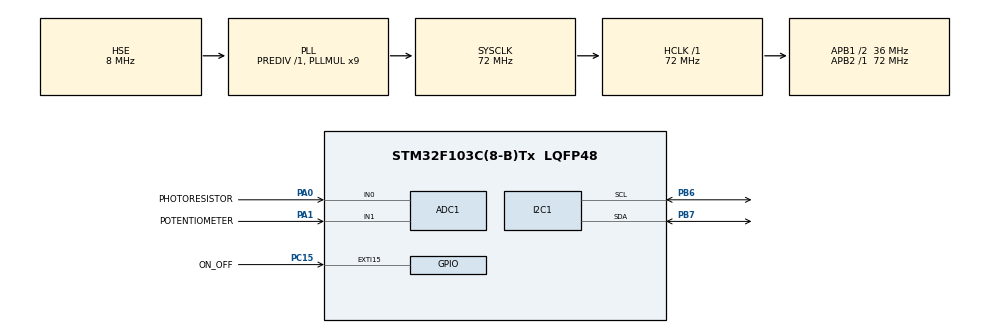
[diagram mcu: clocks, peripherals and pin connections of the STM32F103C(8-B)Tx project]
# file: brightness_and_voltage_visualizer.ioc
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ADC1.Channel-0\#ChannelRegularConversion=ADC_CHANNEL_0
ADC1.Channel-1\#ChannelRegularConversion=ADC_CHANNEL_1
ADC1.ContinuousConvMode=ENABLE
ADC1.NbrOfConversion=2
ADC1.NbrOfConversionFlag=1
ADC1.Rank-0\#ChannelRegularConversion=1
ADC1.Rank-1\#ChannelRegularConversion=2
ADC1.SamplingTime-0\#ChannelRegularConversion=ADC_SAMPLETIME_239CYCLES_5
ADC1.SamplingTime-1\#ChannelRegularConversion=ADC_SAMPLETIME_239CYCLES_5
ADC1.master=1
Dma.ADC1.0.Direction=DMA_PERIPH_TO_MEMORY
Dma.ADC1.0.Instance=DMA1_Channel1
Dma.ADC1.0.MemDataAlignment=DMA_MDATAALIGN_HALFWORD
Dma.ADC1.0.MemInc=DMA_MINC_ENABLE
Dma.ADC1.0.Mode=DMA_CIRCULAR
Dma.ADC1.0.PeriphDataAlignment=DMA_PDATAALIGN_HALFWORD
Dma.ADC1.0.PeriphInc=DMA_PINC_DISABLE
Dma.ADC1.0.Priority=DMA_PRIORITY_LOW
Dma.Request0=ADC1
I2C1.I2C_Mode=I2C_Fast
Mcu.Family=STM32F1
Mcu.Name=STM32F103C(8-B)Tx
Mcu.Package=LQFP48
NVIC.ADC1_2_IRQn=true\:0\:0\:false\:false\:true\:true\:true\:true
NVIC.DMA1_Channel1_IRQn=true\:0\:0\:false\:false\:true\:false\:true\:true
NVIC.EXTI15_10_IRQn=true\:0\:0\:false\:false\:true\:true\:true\:true
NVIC.PriorityGroup=NVIC_PRIORITYGROUP_4
PA0-WKUP.GPIO_Label=PHOTORESISTOR
PA0-WKUP.Signal=ADCx_IN0
PA1.GPIO_Label=POTENTIOMETER
PA1.Signal=ADCx_IN1
PB6.Mode=I2C
PB6.Signal=I2C1_SCL
PB7.Mode=I2C
PB7.Signal=I2C1_SDA
PC15-OSC32_OUT.GPIO_Label=ON_OFF
PC15-OSC32_OUT.GPIO_ModeDefaultEXTI=GPIO_MODE_IT_FALLING
PC15-OSC32_OUT.GPIO_PuPd=GPIO_PULLUP
PC15-OSC32_OUT.Signal=GPXTI15
PD0-OSC_IN.Mode=HSE-External-Oscillator
PD0-OSC_IN.Signal=RCC_OSC_IN
PD1-OSC_OUT.Mode=HSE-External-Oscillator
PD1-OSC_OUT.Signal=RCC_OSC_OUT
ProjectManager.HeapSize=0x200
ProjectManager.StackSize=0x400
ProjectManager.TargetToolchain=STM32CubeIDE
RCC.ADCPresc=RCC_ADCPCLK2_DIV6
RCC.AHBFreq_Value=72000000
RCC.APB1CLKDivider=RCC_HCLK_DIV2
RCC.APB1Freq_Value=36000000
RCC.APB1TimFreq_Value=72000000
RCC.APB2Freq_Value=72000000
RCC.APB2TimFreq_Value=72000000
RCC.HCLKFreq_Value=72000000
RCC.PLLMUL=RCC_PLL_MUL9
RCC.PLLSourceVirtual=RCC_PLLSOURCE_HSE
RCC.SYSCLKFreq_VALUE=72000000
RCC.SYSCLKSource=RCC_SYSCLKSOURCE_PLLCLK
RCC.USBFreq_Value=72000000
SH.ADCx_IN0.0=ADC1_IN0,IN0
SH.ADCx_IN1.0=ADC1_IN1,IN1
board=custom

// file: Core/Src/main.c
/* USER CODE BEGIN Header */
/**
  ******************************************************************************
  * @file           : main.c
  * @brief          : Main program body
  ******************************************************************************
  * @attention
  *
  * Copyright (c) 2025 STMicroelectronics.
  * All rights reserved.
  *
  * This software is licensed under terms that can be found in the LICENSE file
  * in the root directory of this software component.
  * If no LICENSE file comes with this software, it is provided AS-IS.
  *
  ******************************************************************************
  */
/* USER CODE END Header */
#include "main.h"

ADC_HandleTypeDef hadc1;
DMA_HandleTypeDef hdma_adc1;

I2C_HandleTypeDef hi2c1;

void SystemClock_Config(void);
static void MX_GPIO_Init(void);
static void MX_DMA_Init(void);
static void MX_ADC1_Init(void);
static void MX_I2C1_Init(void);
/* USER CODE BEGIN PFP */
uint16_t sensor_values[2];
/* USER CODE END PFP */

/* USER CODE BEGIN 0 */

void drawProgressBarDemo(uint16_t photoresistorProgress, uint16_t potentiometerProgress)
{
  char str[128];

  uint8_t potPercent = (potentiometerProgress * 100) / 4095;
  uint8_t photoPercent = (photoresistorProgress * 100) / 4095;

  ssd1306_DrawProgressBar(4, 15, 120, 10, potPercent);
  ssd1306_DrawProgressBar(4, 40, 120, 10, photoPercent);

  ssd1306_SetCursor(0, 5);
  sprintf(str, "potentiometer %i%%", potPercent);
  ssd1306_WriteString(str, Font_7x10);

  ssd1306_SetCursor(0, 30);
  sprintf(str, "photoresistor %i%%", photoPercent);
  ssd1306_WriteString(str, Font_7x10);
  ssd1306_UpdateScreen();
}
/* USER CODE END 0 */

int main(void)
{

  /* MCU Configuration--------------------------------------------------------*/

  /* Reset of all peripherals, Initializes the Flash interface and the Systick. */
  HAL_Init();

  /* Configure the system clock */
  SystemClock_Config();

  /* Initialize all configured peripherals */
  MX_GPIO_Init();
  MX_DMA_Init();
  MX_ADC1_Init();
  MX_I2C1_Init();
  /* USER CODE BEGIN 2 */
  ssd1306_Init();
  ssd1306_FlipScreenVertically();
  ssd1306_Clear();
  ssd1306_SetColor(White);
  HAL_ADC_Start_DMA(&hadc1, (uint32_t*)sensor_values, 2);
  /* USER CODE END 2 */

  /* Infinite loop */
  while (1)
  {

    /* USER CODE BEGIN 3 */
	  HAL_Delay(500);

	  ssd1306_Clear();
	  drawProgressBarDemo(sensor_values[0], sensor_values[1]);

  }
  /* USER CODE END 3 */
}

void SystemClock_Config(void)
{
  RCC_OscInitTypeDef RCC_OscInitStruct = {0};
  RCC_ClkInitTypeDef RCC_ClkInitStruct = {0};
  RCC_PeriphCLKInitTypeDef PeriphClkInit = {0};

  /** Initializes the RCC Oscillators according to the specified parameters
  * in the RCC_OscInitTypeDef structure.
  */
  RCC_OscInitStruct.OscillatorType = RCC_OSCILLATORTYPE_HSE;
  RCC_OscInitStruct.HSEState = RCC_HSE_ON;
  RCC_OscInitStruct.HSEPredivValue = RCC_HSE_PREDIV_DIV1;
  RCC_OscInitStruct.HSIState = RCC_HSI_ON;
  RCC_OscInitStruct.PLL.PLLState = RCC_PLL_ON;
  RCC_OscInitStruct.PLL.PLLSource = RCC_PLLSOURCE_HSE;
  RCC_OscInitStruct.PLL.PLLMUL = RCC_PLL_MUL9;
  if (HAL_RCC_OscConfig(&RCC_OscInitStruct) != HAL_OK)
  {
    Error_Handler();
  }

  /** Initializes the CPU, AHB and APB buses clocks
  */
  RCC_ClkInitStruct.ClockType = RCC_CLOCKTYPE_HCLK|RCC_CLOCKTYPE_SYSCLK
                              |RCC_CLOCKTYPE_PCLK1|RCC_CLOCKTYPE_PCLK2;
  RCC_ClkInitStruct.SYSCLKSource = RCC_SYSCLKSOURCE_PLLCLK;
  RCC_ClkInitStruct.AHBCLKDivider = RCC_SYSCLK_DIV1;
  RCC_ClkInitStruct.APB1CLKDivider = RCC_HCLK_DIV2;
  RCC_ClkInitStruct.APB2CLKDivider = RCC_HCLK_DIV1;

  if (HAL_RCC_ClockConfig(&RCC_ClkInitStruct, FLASH_LATENCY_2) != HAL_OK)
  {
    Error_Handler();
  }
  PeriphClkInit.PeriphClockSelection = RCC_PERIPHCLK_ADC;
  PeriphClkInit.AdcClockSelection = RCC_ADCPCLK2_DIV6;
  if (HAL_RCCEx_PeriphCLKConfig(&PeriphClkInit) != HAL_OK)
  {
    Error_Handler();
  }
}

static void MX_ADC1_Init(void)
{

  ADC_ChannelConfTypeDef sConfig = {0};

  /** Common config
  */
  hadc1.Instance = ADC1;
  hadc1.Init.ScanConvMode = ADC_SCAN_ENABLE;
  hadc1.Init.ContinuousConvMode = ENABLE;
  hadc1.Init.DiscontinuousConvMode = DISABLE;
  hadc1.Init.ExternalTrigConv = ADC_SOFTWARE_START;
  hadc1.Init.DataAlign = ADC_DATAALIGN_RIGHT;
  hadc1.Init.NbrOfConversion = 2;
  if (HAL_ADC_Init(&hadc1) != HAL_OK)
  {
    Error_Handler();
  }

  /** Configure Regular Channel
  */
  sConfig.Channel = ADC_CHANNEL_0;
  sConfig.Rank = ADC_REGULAR_RANK_1;
  sConfig.SamplingTime = ADC_SAMPLETIME_239CYCLES_5;
  if (HAL_ADC_ConfigChannel(&hadc1, &sConfig) != HAL_OK)
  {
    Error_Handler();
  }

  /** Configure Regular Channel
  */
  sConfig.Channel = ADC_CHANNEL_1;
  sConfig.Rank = ADC_REGULAR_RANK_2;
  if (HAL_ADC_ConfigChannel(&hadc1, &sConfig) != HAL_OK)
  {
    Error_Handler();
  }

}

static void MX_I2C1_Init(void)
{

  hi2c1.Instance = I2C1;
  hi2c1.Init.ClockSpeed = 400000;
  hi2c1.Init.DutyCycle = I2C_DUTYCYCLE_2;
  hi2c1.Init.OwnAddress1 = 0;
  hi2c1.Init.AddressingMode = I2C_ADDRESSINGMODE_7BIT;
  hi2c1.Init.DualAddressMode = I2C_DUALADDRESS_DISABLE;
  hi2c1.Init.OwnAddress2 = 0;
  hi2c1.Init.GeneralCallMode = I2C_GENERALCALL_DISABLE;
  hi2c1.Init.NoStretchMode = I2C_NOSTRETCH_DISABLE;
  if (HAL_I2C_Init(&hi2c1) != HAL_OK)
  {
    Error_Handler();
  }

}

static void MX_DMA_Init(void)
{

  /* DMA controller clock enable */
  __HAL_RCC_DMA1_CLK_ENABLE();

  /* DMA interrupt init */
  /* DMA1_Channel1_IRQn interrupt configuration */
  HAL_NVIC_SetPriority(DMA1_Channel1_IRQn, 0, 0);
  HAL_NVIC_EnableIRQ(DMA1_Channel1_IRQn);

}

static void MX_GPIO_Init(void)
{
  GPIO_InitTypeDef GPIO_InitStruct = {0};

  /* GPIO Ports Clock Enable */
  __HAL_RCC_GPIOC_CLK_ENABLE();
  __HAL_RCC_GPIOD_CLK_ENABLE();
  __HAL_RCC_GPIOA_CLK_ENABLE();
  __HAL_RCC_GPIOB_CLK_ENABLE();

  /*Configure GPIO pin : ON_OFF_Pin */
  GPIO_InitStruct.Pin = ON_OFF_Pin;
  GPIO_InitStruct.Mode = GPIO_MODE_IT_FALLING;
  GPIO_InitStruct.Pull = GPIO_PULLUP;
  HAL_GPIO_Init(ON_OFF_GPIO_Port, &GPIO_InitStruct);

  /* EXTI interrupt init*/
  HAL_NVIC_SetPriority(EXTI15_10_IRQn, 0, 0);
  HAL_NVIC_EnableIRQ(EXTI15_10_IRQn);

}

void Error_Handler(void)
{
  __disable_irq();
  while (1)
  {
  }
}
